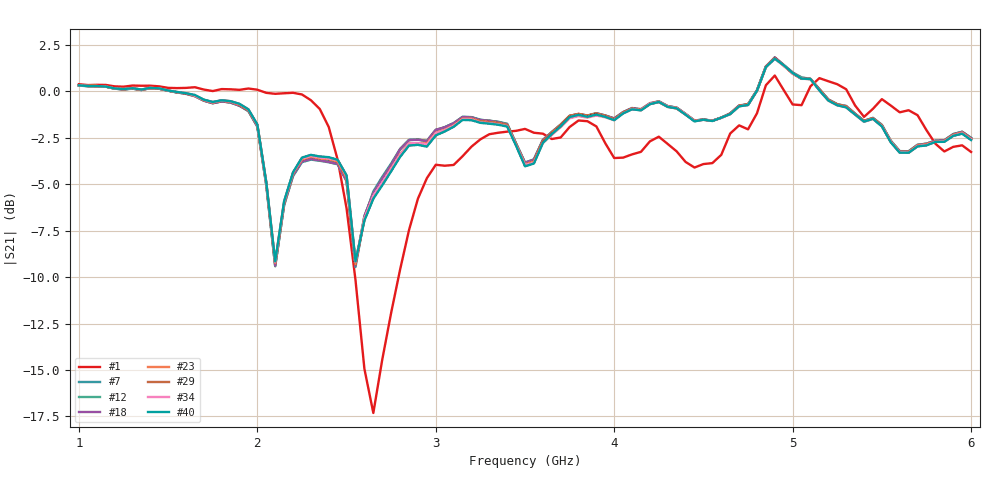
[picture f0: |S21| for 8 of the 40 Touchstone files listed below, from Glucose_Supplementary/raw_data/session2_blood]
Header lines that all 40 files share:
! NanoVNA-App
! Start: 1GHz Stop: 6GHz Points: 101
! S-Parameter data: F S11 S21 S12 S22
# Hz S RI R 50
!	Frequency	S11_Real	S11_Imag	S21_Real	S21_Imag	S12_Real	S12_Imag	S22_Real	S22_Imag
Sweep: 1 GHz to 6 GHz
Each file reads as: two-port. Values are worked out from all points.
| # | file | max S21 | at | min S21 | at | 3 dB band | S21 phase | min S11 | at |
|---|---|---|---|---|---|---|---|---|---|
| 1 | Air 2.s2p | 0.86 dB | 4.9 GHz | -17.3 dB | 2.65 GHz | 1 GHz-2.4 GHz | 161 deg at 3.5 GHz | -30.7 dB | 2.25 GHz |
| 2 | Air 3.s2p | 0.86 dB | 4.9 GHz | -17.3 dB | 2.65 GHz | 1 GHz-2.4 GHz | 161 deg at 3.5 GHz | -30.7 dB | 2.25 GHz |
| 3 | Blood Glu0 PBS 1 temp 25.1 deg.s2p | 1.84 dB | 4.9 GHz | -9.7 dB | 2.1 GHz | 1 GHz-1.95 GHz | 155 deg at 3.5 GHz | -31.4 dB | 3.8 GHz |
| 4 | Blood Glu0 PBS 2.s2p | 1.85 dB | 4.9 GHz | -9.7 dB | 2.1 GHz | 1 GHz-1.95 GHz | 156 deg at 3.5 GHz | -31.8 dB | 3.8 GHz |
| 5 | Blood Glu0 PBS 3.s2p | 1.86 dB | 4.9 GHz | -9.7 dB | 2.1 GHz | 1 GHz-1.95 GHz | 156 deg at 3.5 GHz | -32.5 dB | 3.8 GHz |
| 6 | Blood Glu45 1 temp 25.1 deg.s2p | 1.81 dB | 4.9 GHz | -9.5 dB | 2.55 GHz | 1 GHz-1.95 GHz | 155 deg at 3.5 GHz | -31.1 dB | 3.8 GHz |
| 7 | Blood Glu45 2.s2p | 1.80 dB | 4.9 GHz | -9.5 dB | 2.55 GHz | 1 GHz-1.95 GHz | 155 deg at 3.5 GHz | -31.1 dB | 3.8 GHz |
| 8 | Blood Glu45 3.s2p | 1.81 dB | 4.9 GHz | -9.4 dB | 2.55 GHz | 1 GHz-1.95 GHz | 155 deg at 3.5 GHz | -31.1 dB | 3.8 GHz |
| 9 | Blood Glu50 1 temp 25.0 deg.s2p | 1.83 dB | 4.9 GHz | -9.4 dB | 2.1 GHz | 1 GHz-1.95 GHz | 155 deg at 3.5 GHz | -31.3 dB | 3.8 GHz |
| 10 | Blood Glu50 2.s2p | 1.83 dB | 4.9 GHz | -9.4 dB | 2.1 GHz | 1 GHz-1.95 GHz | 155 deg at 3.5 GHz | -31.5 dB | 3.8 GHz |
| 11 | Blood Glu50 3.s2p | 1.81 dB | 4.9 GHz | -9.4 dB | 2.1 GHz | 1 GHz-1.95 GHz | 155 deg at 3.5 GHz | -31.0 dB | 3.8 GHz |
| 12 | Blood Glu55 1 temp 25.2 deg.s2p | 1.82 dB | 4.9 GHz | -9.4 dB | 2.1 GHz | 1 GHz-1.95 GHz | 155 deg at 3.5 GHz | -31.4 dB | 3.8 GHz |
| 13 | Blood Glu55 2.s2p | 1.82 dB | 4.9 GHz | -9.4 dB | 2.1 GHz | 1 GHz-1.95 GHz | 155 deg at 3.5 GHz | -31.1 dB | 3.8 GHz |
| 14 | Blood Glu55 3.s2p | 1.83 dB | 4.9 GHz | -9.4 dB | 2.1 GHz | 1 GHz-1.95 GHz | 155 deg at 3.5 GHz | -31.8 dB | 3.8 GHz |
| 15 | Blood Glu60 1 temp 25.2 deg.s2p | 1.83 dB | 4.9 GHz | -9.4 dB | 2.1 GHz | 1 GHz-1.95 GHz | 155 deg at 3.5 GHz | -31.8 dB | 3.8 GHz |
| 16 | Blood Glu60 2.s2p | 1.83 dB | 4.9 GHz | -9.3 dB | 2.1 GHz | 1 GHz-1.95 GHz | 155 deg at 3.5 GHz | -32.0 dB | 3.8 GHz |
| 17 | Blood Glu60 3.s2p | 1.84 dB | 4.9 GHz | -9.4 dB | 2.1 GHz | 1 GHz-1.95 GHz | 155 deg at 3.5 GHz | -31.5 dB | 3.8 GHz |
| 18 | Blood Glu65 1 temp 25.2 deg.s2p | 1.84 dB | 4.9 GHz | -9.4 dB | 2.1 GHz | 1 GHz-1.95 GHz | 155 deg at 3.5 GHz | -31.4 dB | 3.8 GHz |
| 19 | Blood Glu65 2.s2p | 1.79 dB | 4.9 GHz | -9.4 dB | 2.55 GHz | 1 GHz-1.95 GHz | 155 deg at 3.5 GHz | -32.1 dB | 3.8 GHz |
| 20 | Blood Glu65 3.s2p | 1.79 dB | 4.9 GHz | -9.3 dB | 2.55 GHz | 1 GHz-1.95 GHz | 154 deg at 3.5 GHz | -31.8 dB | 3.8 GHz |
| 21 | Blood Glu70 1 temp 25.3 deg.s2p | 1.78 dB | 4.9 GHz | -9.3 dB | 2.55 GHz | 1 GHz-1.95 GHz | 154 deg at 3.5 GHz | -31.4 dB | 3.8 GHz |
| 22 | Blood Glu70 2.s2p | 1.78 dB | 4.9 GHz | -9.3 dB | 2.55 GHz | 1 GHz-1.95 GHz | 154 deg at 3.5 GHz | -32.2 dB | 3.8 GHz |
| 23 | Blood Glu70 3.s2p | 1.78 dB | 4.9 GHz | -9.3 dB | 2.55 GHz | 1 GHz-1.95 GHz | 154 deg at 3.5 GHz | -32.0 dB | 3.8 GHz |
| 24 | Blood Glu80 1 temp 25.2 deg.s2p | 1.79 dB | 4.9 GHz | -9.3 dB | 2.55 GHz | 1 GHz-1.95 GHz | 154 deg at 3.5 GHz | -31.0 dB | 3.8 GHz |
| 25 | Blood Glu80 2.s2p | 1.81 dB | 4.9 GHz | -9.2 dB | 2.1 GHz | 1 GHz-1.95 GHz | 154 deg at 3.5 GHz | -31.3 dB | 3.8 GHz |
| 26 | Blood Glu80 3.s2p | 1.79 dB | 4.9 GHz | -9.2 dB | 2.1 GHz | 1 GHz-1.95 GHz | 154 deg at 3.5 GHz | -31.2 dB | 3.8 GHz |
| 27 | Blood Glu90 1 temp 25.2 deg.s2p | 1.79 dB | 4.9 GHz | -9.2 dB | 2.1 GHz | 1 GHz-1.95 GHz | 154 deg at 3.5 GHz | -31.2 dB | 3.8 GHz |
| 28 | Blood Glu90 2.s2p | 1.75 dB | 4.9 GHz | -9.2 dB | 2.1 GHz | 1 GHz-1.95 GHz | 154 deg at 3.5 GHz | -31.0 dB | 1.45 GHz |
| 29 | Blood Glu90 3.s2p | 1.80 dB | 4.9 GHz | -9.2 dB | 2.1 GHz | 1 GHz-1.95 GHz | 154 deg at 3.5 GHz | -31.0 dB | 3.8 GHz |
| 30 | Blood Glu100 1 temp 25.2 deg.s2p | 1.81 dB | 4.9 GHz | -9.3 dB | 2.55 GHz | 1 GHz-1.95 GHz | 154 deg at 3.5 GHz | -31.2 dB | 3.8 GHz |
| 31 | Blood Glu100 2.s2p | 1.81 dB | 4.9 GHz | -9.3 dB | 2.55 GHz | 1 GHz-1.95 GHz | 154 deg at 3.5 GHz | -31.3 dB | 3.8 GHz |
| 32 | Blood Glu100 3.s2p | 1.80 dB | 4.9 GHz | -9.2 dB | 2.55 GHz | 1 GHz-1.95 GHz | 154 deg at 3.5 GHz | -31.2 dB | 3.8 GHz |
| 33 | Blood Glu110 1 temp 25.2 deg.s2p | 1.77 dB | 4.9 GHz | -9.2 dB | 2.1 GHz | 1 GHz-1.95 GHz | 154 deg at 3.5 GHz | -30.9 dB | 1.45 GHz |
| 34 | Blood Glu110 2.s2p | 1.75 dB | 4.9 GHz | -9.2 dB | 2.1 GHz | 1 GHz-1.95 GHz | 154 deg at 3.5 GHz | -31.1 dB | 3.8 GHz |
| 35 | Blood Glu110 3.s2p | 1.81 dB | 4.9 GHz | -9.2 dB | 2.55 GHz | 1 GHz-1.95 GHz | 154 deg at 3.5 GHz | -31.6 dB | 3.8 GHz |
| 36 | Blood Glu120 1 temp 25.3 deg.s2p | 1.81 dB | 4.9 GHz | -9.3 dB | 2.55 GHz | 1 GHz-1.95 GHz | 154 deg at 3.5 GHz | -31.1 dB | 3.8 GHz |
| 37 | Blood Glu120 2.s2p | 1.80 dB | 4.9 GHz | -9.2 dB | 2.55 GHz | 1 GHz-1.95 GHz | 154 deg at 3.5 GHz | -31.4 dB | 3.8 GHz |
| 38 | Blood Glu120 3.s2p | 1.82 dB | 4.9 GHz | -9.2 dB | 2.1 GHz | 1 GHz-1.95 GHz | 154 deg at 3.5 GHz | -31.3 dB | 3.8 GHz |
| 39 | Blood Glu125 1 temp 25.1 deg.s2p | 1.76 dB | 4.9 GHz | -9.2 dB | 2.1 GHz | 1 GHz-1.95 GHz | 154 deg at 3.5 GHz | -31.2 dB | 3.8 GHz |
| 40 | Blood Glu125 2.s2p | 1.76 dB | 4.9 GHz | -9.1 dB | 2.1 GHz | 1 GHz-1.95 GHz | 154 deg at 3.5 GHz | -31.3 dB | 3.8 GHz |
